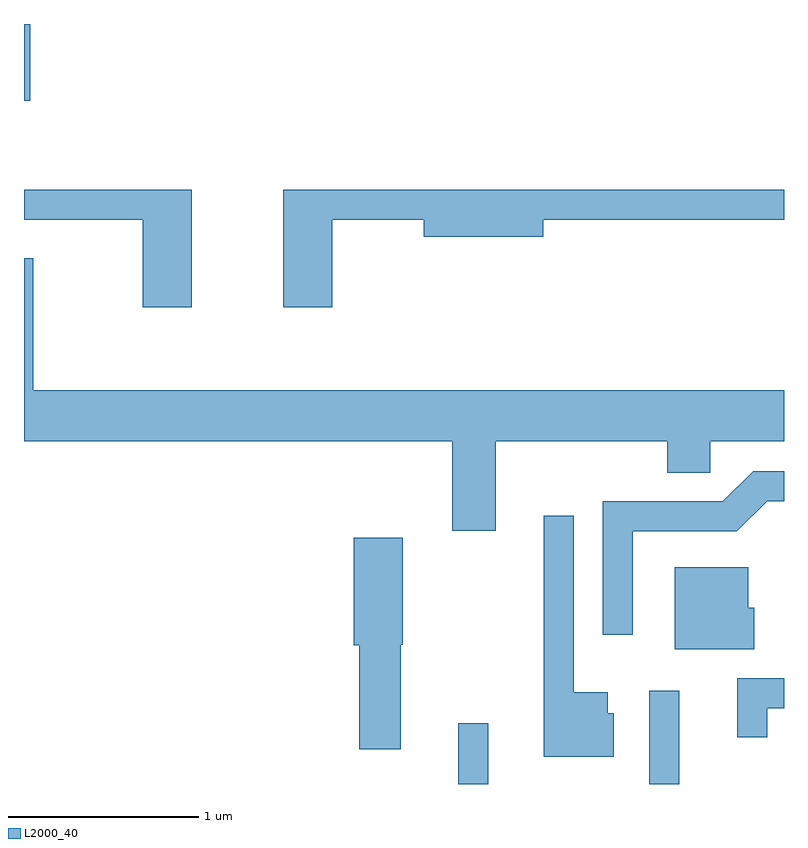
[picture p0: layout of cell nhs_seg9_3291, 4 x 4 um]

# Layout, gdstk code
import gdstk
lib = gdstk.Library(unit=1e-6, precision=1e-09)
def R(c, l, rs):  # rectangles x0, y0, x1, y1
    for r in rs: c.add(gdstk.rectangle(r[:2], r[2:], *l))
def P(c, l, *ps):  # polygons
    for p in ps: c.add(gdstk.Polygon(p, *l))
L2000_40 = (2000, 40)

nhs_seg9_3291 = lib.new_cell('nhs_seg9_3291')
R(nhs_seg9_3291, L2000_40, [(283.896,2014.432,284.054,2014.753), (284.901,2014.432,285.059,2014.923), (281.611,2018.028,281.644,2018.432)])
P(nhs_seg9_3291, L2000_40, [(283.234,2017.401),(283.716,2017.401),(283.716,2017.311),(284.344,2017.311),(284.344,2017.401),(285.611,2017.401),(285.611,2017.559),(282.976,2017.559),(282.976,2016.941),(283.234,2016.941)],
  [(282.494,2017.559),(281.611,2017.559),(281.611,2017.401),(282.236,2017.401),(282.236,2016.941),(282.494,2016.941)],
  [(284.094,2016.236),(284.996,2016.236),(284.996,2016.071),(285.224,2016.071),(285.224,2016.236),(285.611,2016.236),(285.611,2016.504),(281.659,2016.504),(281.659,2017.199),(281.611,2017.199),(281.611,2016.236),(283.866,2016.236),(283.866,2015.766),(284.094,2015.766)],
  [(284.814,2015.761),(285.362,2015.761),(285.522,2015.921),(285.611,2015.921),(285.611,2016.079),(285.449,2016.079),(285.289,2015.919),(284.656,2015.919),(284.656,2015.218),(284.814,2015.218)],
  [(284.714,2014.804),(284.684,2014.804),(284.684,2014.914),(284.504,2014.914),(284.504,2015.843),(284.346,2015.843),(284.346,2014.576),(284.714,2014.576)],
  [(283.594,2015.165),(283.604,2015.165),(283.604,2015.729),(283.346,2015.729),(283.346,2015.161),(283.376,2015.161),(283.376,2014.616),(283.594,2014.616)],
  [(285.454,2015.359),(285.424,2015.359),(285.424,2015.574),(285.036,2015.574),(285.036,2015.141),(285.454,2015.141)],
  [(285.524,2014.831),(285.611,2014.831),(285.611,2014.989),(285.366,2014.989),(285.366,2014.678),(285.524,2014.678)])

lib.write_gds('nhs_seg9_3291.gds')
